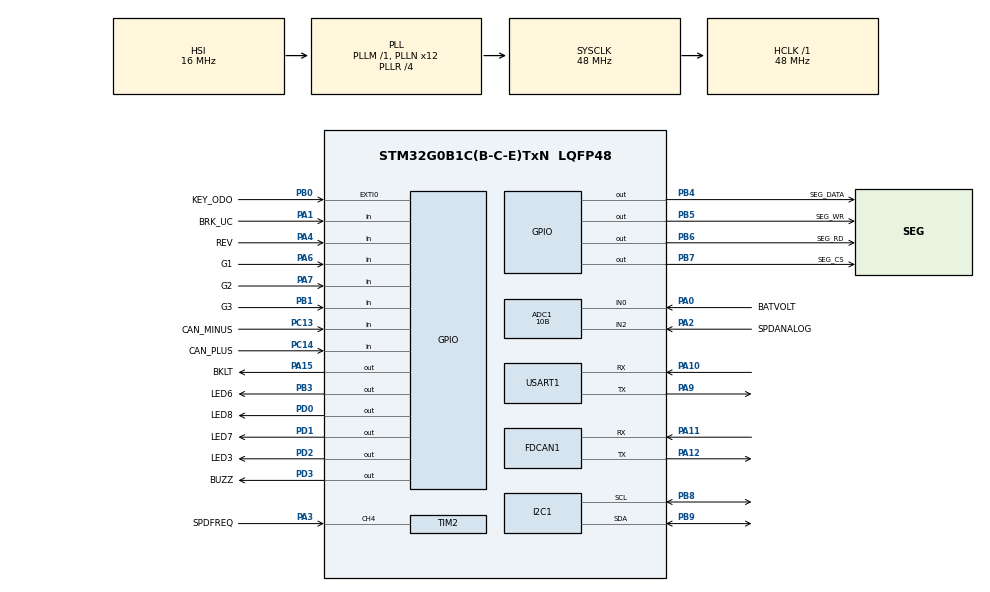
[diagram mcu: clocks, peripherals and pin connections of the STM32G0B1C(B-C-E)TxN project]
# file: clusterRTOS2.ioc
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ADC1.Channel-0\#ChannelRegularConversion=ADC_CHANNEL_0
ADC1.Channel-1\#ChannelRegularConversion=ADC_CHANNEL_2
ADC1.ClockPrescaler=ADC_CLOCK_ASYNC_DIV32
ADC1.ContinuousConvMode=ENABLE
ADC1.DMAContinuousRequests=ENABLE
ADC1.NbrOfConversion=2
ADC1.NbrOfConversionFlag=1
ADC1.Rank-0\#ChannelRegularConversion=1
ADC1.Rank-1\#ChannelRegularConversion=2
ADC1.Resolution=ADC_RESOLUTION_10B
ADC1.SamplingTime-0\#ChannelRegularConversion=ADC_SAMPLINGTIME_COMMON_1
ADC1.SamplingTime-1\#ChannelRegularConversion=ADC_SAMPLINGTIME_COMMON_1
ADC1.ScanConvMode=ADC_SCAN_DISABLE
ADC1.SelectedChannel=ADC_CHANNEL_0|ADC_CHANNEL_2
ADC1.master=1
Dma.ADC1.0.Direction=DMA_PERIPH_TO_MEMORY
Dma.ADC1.0.EventEnable=DISABLE
Dma.ADC1.0.Instance=DMA1_Channel1
Dma.ADC1.0.MemDataAlignment=DMA_MDATAALIGN_HALFWORD
Dma.ADC1.0.MemInc=DMA_MINC_ENABLE
Dma.ADC1.0.Mode=DMA_CIRCULAR
Dma.ADC1.0.PeriphDataAlignment=DMA_PDATAALIGN_HALFWORD
Dma.ADC1.0.PeriphInc=DMA_PINC_DISABLE
Dma.ADC1.0.Polarity=HAL_DMAMUX_REQ_GEN_RISING
Dma.ADC1.0.Priority=DMA_PRIORITY_LOW
Dma.ADC1.0.RequestNumber=1
Dma.ADC1.0.SignalID=NONE
Dma.ADC1.0.SyncEnable=DISABLE
Dma.ADC1.0.SyncPolarity=HAL_DMAMUX_SYNC_NO_EVENT
Dma.ADC1.0.SyncRequestNumber=1
Dma.ADC1.0.SyncSignalID=NONE
Dma.Request0=ADC1
FDCAN1.AutoRetransmission=ENABLE
FDCAN1.ClockDivider=FDCAN_CLOCK_DIV1
FDCAN1.DataSyncJumpWidth=4
FDCAN1.DataTimeSeg1=5
FDCAN1.DataTimeSeg2=4
FDCAN1.ExtFiltersNbr=1
FDCAN1.FrameFormat=FDCAN_FRAME_FD_NO_BRS
FDCAN1.NominalSyncJumpWidth=16
FDCAN1.NominalTimeSeg1=63
FDCAN1.NominalTimeSeg2=32
FDCAN1.StdFiltersNbr=1
FDCAN1.TransmitPause=ENABLE
FREERTOS.BinarySemaphores01=xSemCanDetect,Dynamic,NULL
FREERTOS.Mutexes01=mutEepromWrite,Dynamic,NULL;mutEepromRead,Dynamic,NULL
FREERTOS.Tasks01=defaultTask,24,128,StartDefaultTask,Default,NULL,Dynamic,NULL,NULL;myGpioTask,16,128,StartGpioTask,Default,NULL,Dynamic,NULL,NULL
FREERTOS.configTOTAL_HEAP_SIZE=6144
I2C1.Timing=0x20303E5D
Mcu.Family=STM32G0
Mcu.Name=STM32G0B1C(B-C-E)TxN
Mcu.Package=LQFP48
NVIC.DMA1_Channel1_IRQn=true\:3\:0\:false\:false\:true\:true\:false\:true
NVIC.EXTI0_1_IRQn=true\:3\:0\:false\:false\:true\:true\:true\:true
NVIC.TIM16_FDCAN_IT0_IRQn=true\:3\:0\:false\:false\:true\:true\:true\:true
NVIC.TIM1_BRK_UP_TRG_COM_IRQn=true\:3\:0\:false\:false\:true\:false\:true\:true
NVIC.TIM2_IRQn=true\:3\:0\:false\:false\:true\:true\:true\:true
NVIC.TimeBase=TIM1_BRK_UP_TRG_COM_IRQn
NVIC.TimeBaseIP=TIM1
NVIC.USART1_IRQn=true\:3\:0\:false\:false\:true\:true\:true\:true
PA0.GPIO_Label=BATVOLT
PA0.Mode=IN0
PA0.Signal=ADC1_IN0
PA1.GPIO_Label=BRK_UC
PA1.GPIO_PuPd=GPIO_PULLUP
PA1.Signal=GPIO_Input
PA10.Mode=Asynchronous
PA10.Signal=USART1_RX
PA11\ [PA9].Mode=FDCAN_Activate
PA11\ [PA9].Signal=FDCAN1_RX
PA12\ [PA10].Mode=FDCAN_Activate
PA12\ [PA10].Signal=FDCAN1_TX
PA15.GPIO_Label=BKLT
PA15.GPIO_PuPd=GPIO_PULLDOWN
PA15.PinState=GPIO_PIN_SET
PA15.Signal=GPIO_Output
PA2.GPIO_Label=SPDANALOG
PA2.Mode=IN2
PA2.Signal=ADC1_IN2
PA3.GPIO_Label=SPDFREQ
PA3.GPIO_ModeDefaultPP=GPIO_MODE_AF_OD
PA3.GPIO_PuPd=GPIO_NOPULL
PA3.GPIO_Speed=GPIO_SPEED_FREQ_HIGH
PA3.PinState=GPIO_PIN_SET
PA3.Signal=S_TIM2_CH4
PA4.GPIO_Label=REV
PA4.GPIO_PuPd=GPIO_PULLDOWN
PA4.Signal=GPIO_Input
PA6.GPIO_Label=G1
PA6.GPIO_PuPd=GPIO_PULLUP
PA6.Signal=GPIO_Input
PA7.GPIO_Label=G2
PA7.GPIO_PuPd=GPIO_PULLUP
PA7.Signal=GPIO_Input
PA9.Mode=Asynchronous
PA9.Signal=USART1_TX
PB0.GPIO_Label=KEY_ODO
PB0.GPIO_ModeDefaultEXTI=GPIO_MODE_IT_FALLING
PB0.GPIO_PuPd=GPIO_PULLUP
PB0.Signal=GPXTI0
PB1.GPIO_Label=G3
PB1.GPIO_PuPd=GPIO_PULLUP
PB1.Signal=GPIO_Input
PB3.GPIO_Label=LED6
PB3.GPIO_PuPd=GPIO_PULLDOWN
PB3.PinState=GPIO_PIN_SET
PB3.Signal=GPIO_Output
PB4.GPIO_Label=SEG_DATA
PB4.PinState=GPIO_PIN_SET
PB4.Signal=GPIO_Output
PB5.GPIO_Label=SEG_WR
PB5.PinState=GPIO_PIN_SET
PB5.Signal=GPIO_Output
PB6.GPIO_Label=SEG_RD
PB6.PinState=GPIO_PIN_SET
PB6.Signal=GPIO_Output
PB7.GPIO_Label=SEG_CS
PB7.PinState=GPIO_PIN_SET
PB7.Signal=GPIO_Output
PB8.GPIO_Pu=GPIO_PULLUP
PB8.Mode=I2C
PB8.Signal=I2C1_SCL
PB9.GPIO_Pu=GPIO_PULLUP
PB9.Mode=I2C
PB9.Signal=I2C1_SDA
PC13.GPIO_Label=CAN_MINUS
PC13.GPIO_PuPd=GPIO_PULLUP
PC13.Signal=GPIO_Input
PC14-OSC32_IN\ (PC14).GPIO_Label=CAN_PLUS
PC14-OSC32_IN\ (PC14).GPIO_PuPd=GPIO_PULLUP
PC14-OSC32_IN\ (PC14).Signal=GPIO_Input
PD0.GPIO_Label=LED8
PD0.GPIO_PuPd=GPIO_PULLDOWN
PD0.PinState=GPIO_PIN_SET
PD0.Signal=GPIO_Output
PD1.GPIO_Label=LED7
PD1.GPIO_PuPd=GPIO_PULLDOWN
PD1.PinState=GPIO_PIN_SET
PD1.Signal=GPIO_Output
PD2.GPIO_Label=LED3
PD2.GPIO_PuPd=GPIO_PULLDOWN
PD2.PinState=GPIO_PIN_SET
PD2.Signal=GPIO_Output
PD3.GPIO_Label=BUZZ
PD3.GPIO_PuPd=GPIO_PULLDOWN
PD3.PinState=GPIO_PIN_SET
PD3.Signal=GPIO_Output
ProjectManager.HeapSize=0x200
ProjectManager.StackSize=0x400
ProjectManager.TargetToolchain=STM32CubeIDE
RCC.ADCFreq_Value=48000000
RCC.AHBFreq_Value=48000000
RCC.CortexFreq_Value=48000000
RCC.EXTERNAL_CLOCK_VALUE=48000
RCC.HCLKFreq_Value=48000000
RCC.HSE_VALUE=8000000
RCC.HSI48_VALUE=48000000
RCC.HSI_VALUE=16000000
RCC.LSE_VALUE=32768
RCC.PLLN=12
RCC.PLLR=RCC_PLLR_DIV4
RCC.SYSCLKFreq_VALUE=48000000
RCC.SYSCLKSource=RCC_SYSCLKSOURCE_PLLCLK
RCC.USBFreq_Value=48000000
RCC.VCOOutputFreq_Value=192000000
SH.S_TIM2_CH4.0=TIM2_CH4,Input_Capture4_from_TI4
TIM2.Channel-Input_Capture4_from_TI4=TIM_CHANNEL_4
TIM2.ClockDivision=TIM_CLOCKDIVISION_DIV4
TIM2.ICFilter_CH4=3
TIM2.ICPolarity_CH4=TIM_INPUTCHANNELPOLARITY_BOTHEDGE
TIM2.Period=5000000
TIM2.Prescaler=400
USART1.VirtualMode-Asynchronous=VM_ASYNC
VP_FREERTOS_VS_CMSIS_V2.Mode=CMSIS_V2
VP_SYS_VS_DBSignals.Mode=DisableDeadBatterySignals
VP_SYS_VS_tim1.Mode=TIM1
VP_TIM2_VS_ClockSourceINT.Mode=Internal
board=custom

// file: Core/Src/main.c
/* USER CODE BEGIN Header */
/**
  ******************************************************************************
  * @file           : main.c
  * @brief          : Main program body
  ******************************************************************************
  * @attention
  *
  * Copyright (c) 2023 STMicroelectronics.
  * All rights reserved.
  *
  * This software is licensed under terms that can be found in the LICENSE file
  * in the root directory of this software component.
  * If no LICENSE file comes with this software, it is provided AS-IS.
  *
  ******************************************************************************
  */
/* USER CODE END Header */
#include "main.h"
#include "cmsis_os.h"

/* USER CODE BEGIN Includes */
#include "queue.h"
#include "event_groups.h"
#include "Display.h"
#include "singleWire.h"
#include "timers.h"
#include "can.h"
//#include "semphr. h"
/* USER CODE END Includes */

/* USER CODE BEGIN PTD */
#define fun(reg, bitn) reg&(1<<bitn)
/* USER CODE END PTD */

ADC_HandleTypeDef hadc1;
DMA_HandleTypeDef hdma_adc1;

FDCAN_HandleTypeDef hfdcan1;

I2C_HandleTypeDef hi2c1;

TIM_HandleTypeDef htim2;

UART_HandleTypeDef huart1;

/* Definitions for defaultTask */
osThreadId_t defaultTaskHandle;
const osThreadAttr_t defaultTask_attributes = {
  .name = "defaultTask",
  .priority = (osPriority_t) osPriorityNormal,
  .stack_size = 128 * 4
};
/* Definitions for myGpioTask */
osThreadId_t myGpioTaskHandle;
const osThreadAttr_t myGpioTask_attributes = {
  .name = "myGpioTask",
  .priority = (osPriority_t) osPriorityBelowNormal,
  .stack_size = 128 * 4
};
/* Definitions for mutEepromWrite */
osMutexId_t mutEepromWriteHandle;
const osMutexAttr_t mutEepromWrite_attributes = {
  .name = "mutEepromWrite"
};
/* Definitions for mutEepromRead */
osMutexId_t mutEepromReadHandle;
const osMutexAttr_t mutEepromRead_attributes = {
  .name = "mutEepromRead"
};
/* Definitions for xSemCanDetect */
osSemaphoreId_t xSemCanDetectHandle;
const osSemaphoreAttr_t xSemCanDetect_attributes = {
  .name = "xSemCanDetect"
};
/* USER CODE BEGIN PV */
osThreadId_t singleWireTaskHandle;
const osThreadAttr_t singleWireTask_attributes = {
  .name = "singleWireTask",
  .priority = (osPriority_t) osPriorityRealtime,
  .stack_size = 128 * 4
};

osThreadId_t displayTaskHandle;
const osThreadAttr_t displayTask_attributes = {
  .name = "displayTask",
  .priority = (osPriority_t) osPriorityRealtime,
  .stack_size = 128 * 4
};

osThreadId_t adcTaskHandle;
const osThreadAttr_t adcTask_attributes = {
  .name = "adcTask",
  .priority = (osPriority_t) osPriorityAboveNormal,
  .stack_size = 128 * 4
};

osThreadId_t canTaskHandle;
const osThreadAttr_t canTask_attributes = {
  .name = "canTask",
  .priority = (osPriority_t) osPriorityRealtime,
  .stack_size = 128 * 4
};

// Define the message queue handle
QueueHandle_t xQueueSingleWire, xQueueAdc;

//  declare a event grounp handler variable
EventGroupHandle_t  xEventGroupDisplay;

xTimerHandle timerOdoTrip;

typedef struct {
    uint32_t adcVal[ADC_MAX_CHANNEL];
    // Add more fields if needed
} adcData_t;

uint8_t tBaud = 0, dataVar[16], uartBuf[10], dBaud = 3, gv1, gav1, gav2, gav3, gav4, gv2, gv3, gv4;
volatile uint32_t odoVar = 0, tripVar = 0, volt = 0, soc = 0;
volatile int32_t amp;
volatile int16_t amp2;
volatile uint32_t tcnt = 0, tLimit = 0, divDis = 0, ahVar;
volatile uint16_t flt1, flt2, flt3, batteryFault16, soh, rAh, cAh, speedVar2=0, speedVar=0;
volatile uint16_t ntc1, ntc2, ntc3, ntc4, ntc5, ntc6, tempLimit=550, motorRpm, ctempAlert, mtempAlert;
unsigned long  odoVc, odoVarR, tripVarR, odoVarC, tripVarC, prvOdo;
extern uint16_t speedVarF;
_Bool runTime = 0, tog = 1, mTemp;
volatile uint8_t start, dataCountX, dataCountY, varCh, stopTimeOut, thrmlRun, ntcCount;
volatile unsigned int lineCount, CANindex, CANtype;
volatile uint8_t direction, spd, spdLH, emp1, emp2, mcx1, brkMod, gear;
volatile uint8_t canBatFlag, canControllerFlag, controllerFault, batteryFault, motorFault, motorTemp, throtelFault, throttlePos;
volatile uint8_t chargeState, errorState, reGen, reverseMod, parkingMod, thrmlRun, sStand, brake, cruiseMod, Warning;
_Bool bitOdo, tmpH1,tmpH2, tmpH3, tmpH4, tmpH5, tmpH6, freqMode=0;
unsigned char CANbuf[7][7];
extern uint8_t tBuf[200];
extern uint16_t eeCounter;
unsigned int divFact, rMul, rMul1, rMul2, rMul3, divFactFrq, lval=900, vs=9;
unsigned char vers = VERS;
uint8_t keyNo = 0;
/* USER CODE END PV */

void SystemClock_Config(void);
static void MX_GPIO_Init(void);
static void MX_ADC1_Init(void);
static void MX_FDCAN1_Init(void);
static void MX_I2C1_Init(void);
static void MX_TIM2_Init(void);
static void MX_DMA_Init(void);
static void MX_USART1_UART_Init(void);
void StartDefaultTask(void *argument);
void StartGpioTask(void *argument);

/* USER CODE BEGIN PFP */
void StartAdcTask(void *argument);

FDCAN_RxHeaderTypeDef RxHeader;
uint8_t RxData[8];
FDCAN_TxHeaderTypeDef TxHeader;
uint8_t TxData[8];
/* USER CODE END PFP */

/* USER CODE BEGIN 0 */
const uint8_t appByte __attribute__(( section(".appByte") )) = 0x55;

uint16_t adcBuf[ADC_DMA_LENGTH+1];

/*
 * Timer event every 100mS
 */
static void vTimerCallback1SecExpired(xTimerHandle pxTimer)
{
  singleWireData_t dataToSend;
  static uint16_t keyCnt;
  //HAL_GPIO_TogglePin(GPIOB, LED6_Pin);
  if(runTime)
  {
	  if(tcnt<tLimit)
	  {
		  tcnt++;
	  }
	  else
	  {
		  tcnt=0;
		  runTime=0;
	  }
  }
  if(stopTimeOut)
  {
	  if((--stopTimeOut == 0)&&(start == 2))
	  {
			start = 0;
			varCh = 0;
			for(int p = 0; p < dataCountX; p++)
			{
				varCh^=dataVar[p];
			}
			if((varCh==0)&&(dataVar[0]!=0)&&(dataVar[4]!=0xff))
			{
				dataToSend.dataArrPtr = dataVar;
				dataToSend.cnt	=	12;
				// Send the data to the message queue
				if (xQueueSendFromISR(xQueueSingleWire, &dataToSend, NULL) == pdTRUE) {
					// Data sent successfully
				} else {
					// Queue is full, data not sent
				}
			}
	  }
  }
	if(!HAL_GPIO_ReadPin(KEY_ODO_GPIO_Port, KEY_ODO_Pin))
	{
		keyCnt++;
		if(keyCnt==20)																			//time out
		{
			keyNo = LONG;
			vTaskNotifyGiveFromISR(myGpioTaskHandle, 0);
		}
	}
	else
	{
		if((keyCnt>2)&&(keyCnt<=19))											//Short Press
		{
			keyNo=SHORT;
			vTaskNotifyGiveFromISR(myGpioTaskHandle, 0);
		}
		else if(keyCnt>19)																//long press
		{
			keyNo=LONG;
			vTaskNotifyGiveFromISR(myGpioTaskHandle, 0);
		}
		keyCnt=0;
	}
}

void modeSet(uint8_t md)
{
	  TIM_ClockConfigTypeDef sClockSourceConfig = {0};
	  TIM_MasterConfigTypeDef sMasterConfig = {0};
	  TIM_IC_InitTypeDef sConfigIC = {0};
	if(md == FREQMODEL)
	{
		  htim2.Instance = TIM2;
		  htim2.Init.Prescaler = 1000;//0;
		  htim2.Init.CounterMode = TIM_COUNTERMODE_UP;
		  htim2.Init.Period = 5000000;
		  htim2.Init.ClockDivision = TIM_CLOCKDIVISION_DIV4;//TIM_CLOCKDIVISION_DIV1;
		  htim2.Init.AutoReloadPreload = TIM_AUTORELOAD_PRELOAD_DISABLE;
		  if (HAL_TIM_Base_Init(&htim2) != HAL_OK)
		  {
		    Error_Handler();
		  }
		  sClockSourceConfig.ClockSource = TIM_CLOCKSOURCE_INTERNAL;
		  if (HAL_TIM_ConfigClockSource(&htim2, &sClockSourceConfig) != HAL_OK)
		  {
		    Error_Handler();
		  }
		  if (HAL_TIM_IC_Init(&htim2) != HAL_OK)
		  {
		    Error_Handler();
		  }
		  sMasterConfig.MasterOutputTrigger = TIM_TRGO_RESET;
		  sMasterConfig.MasterSlaveMode = TIM_MASTERSLAVEMODE_DISABLE;
		  if (HAL_TIMEx_MasterConfigSynchronization(&htim2, &sMasterConfig) != HAL_OK)
		  {
		    Error_Handler();
		  }
		  sConfigIC.ICPolarity = TIM_INPUTCHANNELPOLARITY_BOTHEDGE;
		  sConfigIC.ICSelection = TIM_ICSELECTION_DIRECTTI;
		  sConfigIC.ICPrescaler = TIM_ICPSC_DIV1;
		  sConfigIC.ICFilter = 3;
		  if (HAL_TIM_IC_ConfigChannel(&htim2, &sConfigIC, TIM_CHANNEL_4) != HAL_OK)
		  {
		    Error_Handler();
		  }
		  HAL_TIM_IC_Start_IT (&htim2, TIM_CHANNEL_4);
		  freqMode=1;
	}
	else //if(md == FREQMODEL)
	{
		  htim2.Instance = TIM2;
		  htim2.Init.Prescaler = 400;
		  htim2.Init.CounterMode = TIM_COUNTERMODE_UP;
		  htim2.Init.Period = 5000000;
		  htim2.Init.ClockDivision = TIM_CLOCKDIVISION_DIV4;
		  htim2.Init.AutoReloadPreload = TIM_AUTORELOAD_PRELOAD_DISABLE;
		  if (HAL_TIM_Base_Init(&htim2) != HAL_OK)
		  {
		    Error_Handler();
		  }
		  sClockSourceConfig.ClockSource = TIM_CLOCKSOURCE_INTERNAL;
		  if (HAL_TIM_ConfigClockSource(&htim2, &sClockSourceConfig) != HAL_OK)
		  {
		    Error_Handler();
		  }
		  if (HAL_TIM_IC_Init(&htim2) != HAL_OK)
		  {
		    Error_Handler();
		  }
		  sMasterConfig.MasterOutputTrigger = TIM_TRGO_RESET;
		  sMasterConfig.MasterSlaveMode = TIM_MASTERSLAVEMODE_DISABLE;
		  if (HAL_TIMEx_MasterConfigSynchronization(&htim2, &sMasterConfig) != HAL_OK)
		  {
		    Error_Handler();
		  }
		  sConfigIC.ICPolarity = TIM_INPUTCHANNELPOLARITY_BOTHEDGE;
		  sConfigIC.ICSelection = TIM_ICSELECTION_DIRECTTI;
		  sConfigIC.ICPrescaler = TIM_ICPSC_DIV1;
		  sConfigIC.ICFilter = 3;
		  if (HAL_TIM_IC_ConfigChannel(&htim2, &sConfigIC, TIM_CHANNEL_4) != HAL_OK)
		  {
		    Error_Handler();
		  }
		  HAL_TIM_IC_Start_IT (&htim2, TIM_CHANNEL_4);
	  freqMode=0;
	}
}

// Function to swap the byte order of a 32-bit integer
uint32_t swapBytes(uint32_t value) {
    return ((value & 0x000000FF) << 24) |
           ((value & 0x0000FF00) << 8) |
           ((value & 0x00FF0000) >> 8) |
           ((value & 0xFF000000) >> 24);
}

/* USER CODE END 0 */

int main(void)
{
  /* USER CODE BEGIN 1 */
	int row, col;
  /* USER CODE END 1 */

  /* MCU Configuration--------------------------------------------------------*/

  /* Reset of all peripherals, Initializes the Flash interface and the Systick. */
  HAL_Init();

  /* USER CODE BEGIN Init */
  divDis = 176;
  runTime = 1;
  /* USER CODE END Init */

  /* Configure the system clock */
  SystemClock_Config();

  /* Initialize all configured peripherals */
  MX_GPIO_Init();
  MX_ADC1_Init();
  MX_FDCAN1_Init();
  MX_I2C1_Init();
  MX_TIM2_Init();
  MX_DMA_Init();
  MX_USART1_UART_Init();
  /* USER CODE BEGIN 2 */
  HAL_FDCAN_DeInit(&hfdcan1);
  HAL_DMA_Init(&hdma_adc1);												//
  HAL_ADC_Start_DMA(&hadc1, (uint32_t*)adcBuf, ADC_DMA_LENGTH);
  //UART_Start_Receive_IT(&huart1, uartBuf, 1);
  /* USER CODE END 2 */

  /* Init scheduler */
  osKernelInitialize();
  /* Create the mutex(es) */
  /* creation of mutEepromWrite */
  mutEepromWriteHandle = osMutexNew(&mutEepromWrite_attributes);

  /* creation of mutEepromRead */
  mutEepromReadHandle = osMutexNew(&mutEepromRead_attributes);

  /* Create the semaphores(s) */
  /* creation of xSemCanDetect */
  xSemCanDetectHandle = osSemaphoreNew(1, 1, &xSemCanDetect_attributes);

  /* USER CODE BEGIN RTOS_TIMERS */
  /* start timers, add new ones, ... */
  timerOdoTrip = xTimerCreate(
        "timer1", /* name */
        pdMS_TO_TICKS(100), /* period/time */
        pdTRUE, /* auto reload */
        (void*)0, /* timer ID */
        vTimerCallback1SecExpired); /* callback */
  xTimerStart(timerOdoTrip, 0);
  /* USER CODE END RTOS_TIMERS */

  /* USER CODE BEGIN RTOS_QUEUES */
  /* add queues, ... */
  xQueueSingleWire = xQueueCreate(20, sizeof(singleWireData_t));
  xQueueAdc = xQueueCreate(ADC_MAX_CHANNEL, sizeof(adcData_t));
  /* USER CODE END RTOS_QUEUES */

  /* Create the thread(s) */
  /* creation of defaultTask */
  defaultTaskHandle = osThreadNew(StartDefaultTask, NULL, &defaultTask_attributes);

  /* creation of myGpioTask */
  myGpioTaskHandle = osThreadNew(StartGpioTask, NULL, &myGpioTask_attributes);

  /* USER CODE BEGIN RTOS_THREADS */
  singleWireTaskHandle = osThreadNew(StartSingleWireTask, NULL, &singleWireTask_attributes);
  adcTaskHandle = osThreadNew(StartAdcTask, NULL, &adcTask_attributes);
  displayTaskHandle = osThreadNew(StartDisplayTask, NULL, &displayTask_attributes);
  /* add threads, ... */
  /* USER CODE END RTOS_THREADS */

  /* USER CODE BEGIN RTOS_EVENTS */
  /* add events, ... */
  xEventGroupDisplay  =  xEventGroupCreate();
  /* USER CODE END RTOS_EVENTS */

  /* Start scheduler */
  osKernelStart();

  /* We should never get here as control is now taken by the scheduler */
  /* Infinite loop */
  while (1)
  {

  }
}

void SystemClock_Config(void)
{
  RCC_OscInitTypeDef RCC_OscInitStruct = {0};
  RCC_ClkInitTypeDef RCC_ClkInitStruct = {0};

  /** Configure the main internal regulator output voltage
  */
  HAL_PWREx_ControlVoltageScaling(PWR_REGULATOR_VOLTAGE_SCALE1);
  /** Initializes the RCC Oscillators according to the specified parameters
  * in the RCC_OscInitTypeDef structure.
  */
  RCC_OscInitStruct.OscillatorType = RCC_OSCILLATORTYPE_HSI;
  RCC_OscInitStruct.HSIState = RCC_HSI_ON;
  RCC_OscInitStruct.HSIDiv = RCC_HSI_DIV1;
  RCC_OscInitStruct.HSICalibrationValue = RCC_HSICALIBRATION_DEFAULT;
  RCC_OscInitStruct.PLL.PLLState = RCC_PLL_ON;
  RCC_OscInitStruct.PLL.PLLSource = RCC_PLLSOURCE_HSI;
  RCC_OscInitStruct.PLL.PLLM = RCC_PLLM_DIV1;
  RCC_OscInitStruct.PLL.PLLN = 12;
  RCC_OscInitStruct.PLL.PLLP = RCC_PLLP_DIV2;
  RCC_OscInitStruct.PLL.PLLQ = RCC_PLLQ_DIV2;
  RCC_OscInitStruct.PLL.PLLR = RCC_PLLR_DIV4;
  if (HAL_RCC_OscConfig(&RCC_OscInitStruct) != HAL_OK)
  {
    Error_Handler();
  }
  /** Initializes the CPU, AHB and APB buses clocks
  */
  RCC_ClkInitStruct.ClockType = RCC_CLOCKTYPE_HCLK|RCC_CLOCKTYPE_SYSCLK
                              |RCC_CLOCKTYPE_PCLK1;
  RCC_ClkInitStruct.SYSCLKSource = RCC_SYSCLKSOURCE_PLLCLK;
  RCC_ClkInitStruct.AHBCLKDivider = RCC_SYSCLK_DIV1;
  RCC_ClkInitStruct.APB1CLKDivider = RCC_HCLK_DIV1;

  if (HAL_RCC_ClockConfig(&RCC_ClkInitStruct, FLASH_LATENCY_1) != HAL_OK)
  {
    Error_Handler();
  }
}

static void MX_ADC1_Init(void)
{

  ADC_ChannelConfTypeDef sConfig = {0};

  /** Configure the global features of the ADC (Clock, Resolution, Data Alignment and number of conversion)
  */
  hadc1.Instance = ADC1;
  hadc1.Init.ClockPrescaler = ADC_CLOCK_ASYNC_DIV32;
  hadc1.Init.Resolution = ADC_RESOLUTION_10B;
  hadc1.Init.DataAlign = ADC_DATAALIGN_RIGHT;
  hadc1.Init.ScanConvMode = ADC_SCAN_DISABLE;
  hadc1.Init.EOCSelection = ADC_EOC_SINGLE_CONV;
  hadc1.Init.LowPowerAutoWait = DISABLE;
  hadc1.Init.LowPowerAutoPowerOff = DISABLE;
  hadc1.Init.ContinuousConvMode = ENABLE;
  hadc1.Init.NbrOfConversion = 2;
  hadc1.Init.DiscontinuousConvMode = DISABLE;
  hadc1.Init.ExternalTrigConv = ADC_SOFTWARE_START;
  hadc1.Init.ExternalTrigConvEdge = ADC_EXTERNALTRIGCONVEDGE_NONE;
  hadc1.Init.DMAContinuousRequests = ENABLE;
  hadc1.Init.Overrun = ADC_OVR_DATA_PRESERVED;
  hadc1.Init.SamplingTimeCommon1 = ADC_SAMPLETIME_1CYCLE_5;
  hadc1.Init.SamplingTimeCommon2 = ADC_SAMPLETIME_1CYCLE_5;
  hadc1.Init.OversamplingMode = DISABLE;
  hadc1.Init.TriggerFrequencyMode = ADC_TRIGGER_FREQ_HIGH;
  if (HAL_ADC_Init(&hadc1) != HAL_OK)
  {
    Error_Handler();
  }
  /** Configure Regular Channel
  */
  sConfig.Channel = ADC_CHANNEL_0;
  sConfig.Rank = ADC_REGULAR_RANK_1;
  sConfig.SamplingTime = ADC_SAMPLINGTIME_COMMON_1;
  if (HAL_ADC_ConfigChannel(&hadc1, &sConfig) != HAL_OK)
  {
    Error_Handler();
  }
  /** Configure Regular Channel
  */
  sConfig.Channel = ADC_CHANNEL_2;
  sConfig.Rank = ADC_REGULAR_RANK_2;
  if (HAL_ADC_ConfigChannel(&hadc1, &sConfig) != HAL_OK)
  {
    Error_Handler();
  }

}

static void MX_FDCAN1_Init(void)
{

  hfdcan1.Instance = FDCAN1;
  hfdcan1.Init.ClockDivider = FDCAN_CLOCK_DIV1;
  hfdcan1.Init.FrameFormat = FDCAN_FRAME_FD_NO_BRS;
  hfdcan1.Init.Mode = FDCAN_MODE_NORMAL;
  hfdcan1.Init.AutoRetransmission = ENABLE;
  hfdcan1.Init.TransmitPause = ENABLE;
  hfdcan1.Init.ProtocolException = DISABLE;
  hfdcan1.Init.NominalPrescaler = 1;
  hfdcan1.Init.NominalSyncJumpWidth = 16;
  hfdcan1.Init.NominalTimeSeg1 = 63;
  hfdcan1.Init.NominalTimeSeg2 = 32;
  hfdcan1.Init.DataPrescaler = 1;
  hfdcan1.Init.DataSyncJumpWidth = 4;
  hfdcan1.Init.DataTimeSeg1 = 5;
  hfdcan1.Init.DataTimeSeg2 = 4;
  hfdcan1.Init.StdFiltersNbr = 1;
  hfdcan1.Init.ExtFiltersNbr = 1;
  hfdcan1.Init.TxFifoQueueMode = FDCAN_TX_FIFO_OPERATION;
  if (HAL_FDCAN_Init(&hfdcan1) != HAL_OK)
  {
    Error_Handler();
  }

}

static void MX_I2C1_Init(void)
{

  hi2c1.Instance = I2C1;
  hi2c1.Init.Timing = 0x20303E5D;
  hi2c1.Init.OwnAddress1 = 0;
  hi2c1.Init.AddressingMode = I2C_ADDRESSINGMODE_7BIT;
  hi2c1.Init.DualAddressMode = I2C_DUALADDRESS_DISABLE;
  hi2c1.Init.OwnAddress2 = 0;
  hi2c1.Init.OwnAddress2Masks = I2C_OA2_NOMASK;
  hi2c1.Init.GeneralCallMode = I2C_GENERALCALL_DISABLE;
  hi2c1.Init.NoStretchMode = I2C_NOSTRETCH_DISABLE;
  if (HAL_I2C_Init(&hi2c1) != HAL_OK)
  {
    Error_Handler();
  }
  /** Configure Analogue filter
  */
  if (HAL_I2CEx_ConfigAnalogFilter(&hi2c1, I2C_ANALOGFILTER_ENABLE) != HAL_OK)
  {
    Error_Handler();
  }
  /** Configure Digital filter
  */
  if (HAL_I2CEx_ConfigDigitalFilter(&hi2c1, 0) != HAL_OK)
  {
    Error_Handler();
  }

}

static void MX_TIM2_Init(void)
{

  TIM_ClockConfigTypeDef sClockSourceConfig = {0};
  TIM_MasterConfigTypeDef sMasterConfig = {0};
  TIM_IC_InitTypeDef sConfigIC = {0};

  htim2.Instance = TIM2;
  htim2.Init.Prescaler = 400;
  htim2.Init.CounterMode = TIM_COUNTERMODE_UP;
  htim2.Init.Period = 5000000;
  htim2.Init.ClockDivision = TIM_CLOCKDIVISION_DIV4;
  htim2.Init.AutoReloadPreload = TIM_AUTORELOAD_PRELOAD_DISABLE;
  if (HAL_TIM_Base_Init(&htim2) != HAL_OK)
  {
    Error_Handler();
  }
  sClockSourceConfig.ClockSource = TIM_CLOCKSOURCE_INTERNAL;
  if (HAL_TIM_ConfigClockSource(&htim2, &sClockSourceConfig) != HAL_OK)
  {
    Error_Handler();
  }
  if (HAL_TIM_IC_Init(&htim2) != HAL_OK)
  {
    Error_Handler();
  }
  sMasterConfig.MasterOutputTrigger = TIM_TRGO_RESET;
  sMasterConfig.MasterSlaveMode = TIM_MASTERSLAVEMODE_DISABLE;
  if (HAL_TIMEx_MasterConfigSynchronization(&htim2, &sMasterConfig) != HAL_OK)
  {
    Error_Handler();
  }
  sConfigIC.ICPolarity = TIM_INPUTCHANNELPOLARITY_BOTHEDGE;
  sConfigIC.ICSelection = TIM_ICSELECTION_DIRECTTI;
  sConfigIC.ICPrescaler = TIM_ICPSC_DIV1;
  sConfigIC.ICFilter = 3;
  if (HAL_TIM_IC_ConfigChannel(&htim2, &sConfigIC, TIM_CHANNEL_4) != HAL_OK)
  {
    Error_Handler();
  }
  /* USER CODE BEGIN TIM2_Init 2 */
  HAL_TIM_IC_Start_IT (&htim2, TIM_CHANNEL_4);

  /* USER CODE END TIM2_Init 2 */

}

static void MX_USART1_UART_Init(void)
{

  huart1.Instance = USART1;
  huart1.Init.BaudRate = 115200;
  huart1.Init.WordLength = UART_WORDLENGTH_8B;
  huart1.Init.StopBits = UART_STOPBITS_1;
  huart1.Init.Parity = UART_PARITY_NONE;
  huart1.Init.Mode = UART_MODE_TX_RX;
  huart1.Init.HwFlowCtl = UART_HWCONTROL_NONE;
  huart1.Init.OverSampling = UART_OVERSAMPLING_16;
  huart1.Init.OneBitSampling = UART_ONE_BIT_SAMPLE_DISABLE;
  huart1.Init.ClockPrescaler = UART_PRESCALER_DIV1;
  huart1.AdvancedInit.AdvFeatureInit = UART_ADVFEATURE_NO_INIT;
  if (HAL_UART_Init(&huart1) != HAL_OK)
  {
    Error_Handler();
  }
  if (HAL_UARTEx_SetTxFifoThreshold(&huart1, UART_TXFIFO_THRESHOLD_1_8) != HAL_OK)
  {
    Error_Handler();
  }
  if (HAL_UARTEx_SetRxFifoThreshold(&huart1, UART_RXFIFO_THRESHOLD_1_8) != HAL_OK)
  {
    Error_Handler();
  }
  if (HAL_UARTEx_DisableFifoMode(&huart1) != HAL_OK)
  {
    Error_Handler();
  }

}

static void MX_DMA_Init(void)
{

  /* DMA controller clock enable */
  __HAL_RCC_DMA1_CLK_ENABLE();

  /* DMA interrupt init */
  /* DMA1_Channel1_IRQn interrupt configuration */
  HAL_NVIC_SetPriority(DMA1_Channel1_IRQn, 3, 0);
  HAL_NVIC_EnableIRQ(DMA1_Channel1_IRQn);

}

static void MX_GPIO_Init(void)
{
  GPIO_InitTypeDef GPIO_InitStruct = {0};

  /* GPIO Ports Clock Enable */
  __HAL_RCC_GPIOC_CLK_ENABLE();
  __HAL_RCC_GPIOA_CLK_ENABLE();
  __HAL_RCC_GPIOB_CLK_ENABLE();
  __HAL_RCC_GPIOD_CLK_ENABLE();

  /*Configure GPIO pin Output Level */
  HAL_GPIO_WritePin(BKLT_GPIO_Port, BKLT_Pin, GPIO_PIN_SET);

  /*Configure GPIO pin Output Level */
  HAL_GPIO_WritePin(GPIOD, LED8_Pin|LED7_Pin|LED3_Pin|BUZZ_Pin, GPIO_PIN_SET);

  /*Configure GPIO pin Output Level */
  HAL_GPIO_WritePin(GPIOB, LED6_Pin|SEG_DATA_Pin|SEG_WR_Pin|SEG_RD_Pin
                          |SEG_CS_Pin, GPIO_PIN_SET);

  /*Configure GPIO pins : CAN_MINUS_Pin CAN_PLUS_Pin */
  GPIO_InitStruct.Pin = CAN_MINUS_Pin|CAN_PLUS_Pin;
  GPIO_InitStruct.Mode = GPIO_MODE_INPUT;
  GPIO_InitStruct.Pull = GPIO_PULLUP;
  HAL_GPIO_Init(GPIOC, &GPIO_InitStruct);

  /*Configure GPIO pins : BRK_UC_Pin G1_Pin G2_Pin */
  GPIO_InitStruct.Pin = BRK_UC_Pin|G1_Pin|G2_Pin;
  GPIO_InitStruct.Mode = GPIO_MODE_INPUT;
  GPIO_InitStruct.Pull = GPIO_PULLUP;
  HAL_GPIO_Init(GPIOA, &GPIO_InitStruct);

  /*Configure GPIO pin : REV_Pin */
  GPIO_InitStruct.Pin = REV_Pin;
  GPIO_InitStruct.Mode = GPIO_MODE_INPUT;
  GPIO_InitStruct.Pull = GPIO_PULLDOWN;
  HAL_GPIO_Init(REV_GPIO_Port, &GPIO_InitStruct);

  /*Configure GPIO pin : KEY_ODO_Pin */
  GPIO_InitStruct.Pin = KEY_ODO_Pin;
  GPIO_InitStruct.Mode = GPIO_MODE_IT_FALLING;
  GPIO_InitStruct.Pull = GPIO_PULLUP;
  HAL_GPIO_Init(KEY_ODO_GPIO_Port, &GPIO_InitStruct);

  /*Configure GPIO pin : G3_Pin */
  GPIO_InitStruct.Pin = G3_Pin;
  GPIO_InitStruct.Mode = GPIO_MODE_INPUT;
  GPIO_InitStruct.Pull = GPIO_PULLUP;
  HAL_GPIO_Init(G3_GPIO_Port, &GPIO_InitStruct);

  /*Configure GPIO pin : BKLT_Pin */
  GPIO_InitStruct.Pin = BKLT_Pin;
  GPIO_InitStruct.Mode = GPIO_MODE_OUTPUT_PP;
  GPIO_InitStruct.Pull = GPIO_PULLDOWN;
  GPIO_InitStruct.Speed = GPIO_SPEED_FREQ_LOW;
  HAL_GPIO_Init(BKLT_GPIO_Port, &GPIO_InitStruct);

  /*Configure GPIO pins : LED8_Pin LED7_Pin LED3_Pin BUZZ_Pin */
  GPIO_InitStruct.Pin = LED8_Pin|LED7_Pin|LED3_Pin|BUZZ_Pin;
  GPIO_InitStruct.Mode = GPIO_MODE_OUTPUT_PP;
  GPIO_InitStruct.Pull = GPIO_PULLDOWN;
  GPIO_InitStruct.Speed = GPIO_SPEED_FREQ_LOW;
  HAL_GPIO_Init(GPIOD, &GPIO_InitStruct);

  /*Configure GPIO pin : LED6_Pin */
  GPIO_InitStruct.Pin = LED6_Pin;
  GPIO_InitStruct.Mode = GPIO_MODE_OUTPUT_PP;
  GPIO_InitStruct.Pull = GPIO_PULLDOWN;
  GPIO_InitStruct.Speed = GPIO_SPEED_FREQ_LOW;
  HAL_GPIO_Init(LED6_GPIO_Port, &GPIO_InitStruct);

  /*Configure GPIO pins : SEG_DATA_Pin SEG_WR_Pin SEG_RD_Pin SEG_CS_Pin */
  GPIO_InitStruct.Pin = SEG_DATA_Pin|SEG_WR_Pin|SEG_RD_Pin|SEG_CS_Pin;
  GPIO_InitStruct.Mode = GPIO_MODE_OUTPUT_PP;
  GPIO_InitStruct.Pull = GPIO_NOPULL;
  GPIO_InitStruct.Speed = GPIO_SPEED_FREQ_LOW;
  HAL_GPIO_Init(GPIOB, &GPIO_InitStruct);

  /* EXTI interrupt init*/
  HAL_NVIC_SetPriority(EXTI0_1_IRQn, 3, 0);
  HAL_NVIC_EnableIRQ(EXTI0_1_IRQn);

}

/* USER CODE BEGIN 4 */
void eepromWrite(uint16_t addr, uint8_t *dat, uint16_t siz)
{
	uint16_t devAddr = (uint16_t)0xA0;
	osMutexAcquire(mutEepromWriteHandle, osWaitForever);
	if(addr&0xff00)
	{
		devAddr |= 0x02;
	}
	HAL_I2C_Mem_Write(&hi2c1, devAddr, addr, I2C_MEMADD_SIZE_8BIT, dat, siz, 1000);
	osMutexRelease(mutEepromWriteHandle);
}

void eepromRead(uint16_t addr, uint8_t *dat, uint16_t siz)
{
	uint16_t devAddr = (uint16_t)0xA0, TimeOut;
	osMutexAcquire( mutEepromReadHandle, osWaitForever );
	if(addr&0xff00)
	{
		devAddr |= 0x02;
	}
	TimeOut = 0;
	while(HAL_I2C_Mem_Read(&hi2c1, devAddr,(uint16_t)addr, I2C_MEMADD_SIZE_8BIT, dat, siz, 1000)!= HAL_OK && TimeOut < 10)
	{
		TimeOut++;
	}
	osMutexRelease( mutEepromReadHandle );
}

void MEM_Write(unsigned int aa, unsigned long abc)
{
	tBuf[0]=(unsigned char)((abc&0xff000000)>>24);
	tBuf[1]=(unsigned char)((abc&0x00ff0000)>>16);
	tBuf[2]=(unsigned char)((abc&0x0000ff00)>>8);
	tBuf[3]=(unsigned char)(abc&0x000000ff);
	eepromWrite((uint16_t)aa, tBuf, (uint16_t)4);
	//HAL_I2C_Mem_Write(&hi2c1,(uint16_t)0xA0,(uint16_t)aa, I2C_MEMADD_SIZE_8BIT, tBuf,(uint16_t)4,1000);
	//at24_HAL_WriteBytes(&hi2c1, 0xA0, aa, (uint8_t *)&tBuf, 4);
	//write_eeprom(aa, tBuf, 4);
}

void HAL_UART_RxCpltCallback(UART_HandleTypeDef *huart)
{
	if( huart->Instance == USART1)
	{
		HAL_UART_Receive_IT(&huart1, &uartBuf, 1);
	}
}

void HAL_TIM_IC_CaptureCallback(TIM_HandleTypeDef *htim)
{
	uint32_t IC_Value1 = 0, IC_Value2 = 0, diffTime, varFreq, bitTm[251];
	static uint32_t tmCnt, lTime, hTime, timeOut;
	uint8_t freqMode, freqSynCnt, p;
	static _Bool capEdge = 1;
	_Bool logicBit, freqDone;
	BaseType_t xHigherPriorityTaskWoken = pdFALSE;
	//TIM_GetITStatus(&htim);
	if ((htim->Instance==TIM2)&&(htim->Channel == HAL_TIM_ACTIVE_CHANNEL_4))
	  {
		if(freqMode == 1)
		{
			varFreq = HAL_TIM_ReadCapturedValue(htim, TIM_CHANNEL_4);
			__HAL_TIM_SET_COUNTER(htim, 0);
			freqSynCnt=10;
			freqDone = 1;
		}
		else
		{
			if(capEdge==1)
			{
				capEdge=0;
				IC_Value1 = HAL_TIM_ReadCapturedValue(htim, TIM_CHANNEL_4);
				if(IC_Value1 < JHANT)
					return;
				hTime = IC_Value1;
				bitTm[tmCnt]=hTime;
				__HAL_TIM_SET_CAPTUREPOLARITY(htim, TIM_CHANNEL_4, TIM_INPUTCHANNELPOLARITY_RISING);
				__HAL_TIM_SET_COUNTER(htim, 0);
				if(start == 1)
					start = 2;
				if(lTime>hTime)															// logic 0
				{
					diffTime = lTime - hTime;
					if(diffTime>1500)//<<4))//130000)////130000)//
					{
						if(timeOut>0)
							timeOut--;
						dataCountX=0;
						dataCountY=0;
						start=1;
					}
					else
					{
						if((diffTime>(hTime>>1))&&(diffTime<(lTime<<1)))										//serial model
						{
							logicBit = 0;
						}
						else																			//frequency model
						{
							start = 0;
						}
					}
				}
				else																				// logic 1
				{
					diffTime = hTime - lTime;
					if((diffTime>(lTime>>1))&&(diffTime<(hTime<<1)))										//serial model
					{
						logicBit = 1;
					}
					else																			//frequency model
					{
						start = 0;
					}
				}
				if(start==2)
				{
					if(dataCountX<15)
					{
						if(dataCountY<8)
						{
							varCh=dataVar[dataCountX];
							//if(prg ==1)
							{
								if(logicBit)
								{
									varCh|=0x01;
								}
								else
								{
									varCh&=0xfe;
								}
							}
						/*if((dataCountX == 11)&&(dataCountY == 7))
						{
							start=2;
						}*/
							if(dataCountY!=7)
								varCh<<=1;
							dataVar[dataCountX]=varCh;
							dataCountY++;
						}
						if(dataCountY==8)
						{
							dataCountX++;
							dataCountY=0;
						}
					}
					if((dataCountX == 15))//&&(dataCountY==0))
					{
						stopTimeOut = 1;
					}
				}
			}
			else
			{
				capEdge=1;
				IC_Value2 = HAL_TIM_ReadCapturedValue(htim, TIM_CHANNEL_4);
				if(IC_Value2 < JHANT)
					return;
				lTime = IC_Value2;
				stopTimeOut = 2;//lTime>>6;
//				stopTimeOut >>= 1;
				bitTm[tmCnt] = lTime;
				__HAL_TIM_SET_CAPTUREPOLARITY(htim, TIM_CHANNEL_4, TIM_INPUTCHANNELPOLARITY_FALLING);
				varFreq = IC_Value2-IC_Value1;
				__HAL_TIM_SET_COUNTER(htim, 0);
			}
			if(tmCnt<250)
			{
				tmCnt++;
			}
			else
			{
				tmCnt=0;
			}
		}
		}
}

/*
 * 	ADC Interrupt handler
 */
void HAL_ADC_ConvCpltCallback(ADC_HandleTypeDef* hadc)
{
	adcData_t adcValues;
	uint32_t val1 = 0, val2 = 0;
    // Conversion Complete & DMA Transfer Complete As Well
    // So The AD_RES Is Now Updated & Let's Move IT To The PWM CCR1
    // Update The PWM Duty Cycle With Latest ADC Conversion Result
	int inx;
	for(int vc=0; vc<25; vc++)
	{
		inx = vc*2;
		val1 += adcBuf[inx];
		val2  += adcBuf[inx+1];
	}
	val1/=25;
	val2/=25;
	if (xQueueSendFromISR(xQueueAdc, &adcValues, NULL) == pdTRUE) {
		// Data sent successfully
	} else {
		// Queue is full, data not sent
	}
}

/* USER CODE BEGIN Header_StartAdcTask */
/**
  * @brief  Function implementing the ADC thread.
  * @param  argument: array of ADC channels
  * @retval None
  */
/* USER CODE END Header_StartDefaultTask */
void StartAdcTask(void *argument)
{
	adcData_t adcData;
	uint32_t vbatCount, adcSpeed;
  /* Infinite loop */
  for(;;)
  {
	  if (xQueueReceive(xQueueAdc, &adcData, portMAX_DELAY) == pdTRUE) {
		  vbatCount = adcData.adcVal[0];
		  adcSpeed = adcData.adcVal[1];
	  }
  }
}
/* USER CODE END 4 */

void StartDefaultTask(void *argument)
{
  /* USER CODE BEGIN 5 */
	uint8_t f1;
	uint16_t adr;
	_Bool autoBaud = 0;
    if(!HAL_GPIO_ReadPin(CAN_MINUS_GPIO_Port, CAN_MINUS_Pin))
	{
	  tBaud = 2;
	  if(!HAL_GPIO_ReadPin(CAN_PLUS_GPIO_Port, CAN_PLUS_Pin))
	  {
		tBaud = 3;
	  }
	}
    else if(!HAL_GPIO_ReadPin(CAN_PLUS_GPIO_Port, CAN_PLUS_Pin))
    {
    	tBaud = 3;
    }
    else
    {
    	eepromRead(ADDR_BAUD, &tBaud, 1);
    	if(tBaud == 0)
	    {
		  autoBaud = 1;
	    }
    	else if(tBaud>4)
    	{
		  tBaud = dBaud;
    	}
    	osDelay(10);
    }
	eepromRead(ADDR_RMUL, (uint8_t *)&rMul, 1);
	  //at24_HAL_ReadBytes(&hi2c1, 0xA0, ADDR_RMUL, (uint8_t *)&rMul, 1);
	  if(rMul==0xff)
	  {
	 	  rMul = 100;
	  }
	  osDelay(10);
	eepromRead(ADDR_RMUL1, (uint8_t *)&rMul1, 1);
	  //at24_HAL_ReadBytes(&hi2c1, 0xA0, ADDR_RMUL1, (uint8_t *)&rMul1, 1);
	  if(rMul1==0xff)
	  {
	 	  rMul1 = 100;
	  }
	  osDelay(10);
	eepromRead(ADDR_RMUL2, (uint8_t *)&rMul2, 1);
	 // at24_HAL_ReadBytes(&hi2c1, 0xA0, ADDR_RMUL2, (uint8_t *)&rMul2, 1);
	  if(rMul2==0xff)
	  {
	 	  rMul2 = 100;
	  }
	  osDelay(10);
	eepromRead(ADDR_RMUL3, (uint8_t *)&rMul3, 1);
	  //at24_HAL_ReadBytes(&hi2c1, 0xA0, ADDR_RMUL3, (uint8_t *)&rMul3, 1);
	  if(rMul3==0xff)
	  {
	 	  rMul3 = 100;
	  }
	  osDelay(10);
	eepromRead(260, tBuf, 15);
	//  at24_HAL_ReadBytes(&hi2c1, 0xA0, 260, tBuf, 15);
	  divFact = tBuf[ADRINX_DIV];
	  //at24_HAL_ReadBytes(&hi2c1, 0xA0, ADDR_DIV, &divFact, 1);
	  if(divFact==0xff)
	  {
		  divFact = 89;
	  }
	  else if(divFact<50)
		  divFact = 50;

	  else if (divFact>200)
	  {
		  divFact = 200;
	  }
	  osDelay(10);
	  tog = tBuf[ADRINX_TOG];
	  //at24_HAL_ReadBytes(&hi2c1, 0xA0, ADDR_TOG, &tog, 1);
	  //tog=c[0];
	  bitOdo=0;
		//at24_HAL_ReadBytes(&hi2c1, 0xA0, ADDR_TOG, &tog, 1);
	  if(tog > 1UL)
	  {
		  tog=0;
		  eepromWrite(ADDR_TOG, (uint8_t *)&tog, 1);
		 // HAL_I2C_Mem_Write(&hi2c1,(uint16_t)0xA0,(uint16_t)ADDR_TOG, I2C_MEMADD_SIZE_8BIT, &tog,(uint16_t)1,1000);
		  //c[0]=0;
	  }
	eeCounter = tBuf[ADRINX_PTR];
	if(eeCounter>31)   //15
	{
		eeCounter=0;
		eepromWrite(ADDR_TOG, (uint8_t *)&eeCounter, 1);
		//HAL_I2C_Mem_Write(&hi2c1,(uint16_t)0xA0,(uint16_t)ADDR_PTR, I2C_MEMADD_SIZE_8BIT, (uint8_t *)&eeCounter,(uint16_t)1,1000);
		//at24_HAL_WriteBytes(&hi2c1, 0xA0, ADDR_PTR, &eeCounter, 1);
		//i2c_write_byte(ADDR_PTR, eeCounter);
	}
	osDelay(10);
	vs = tBuf[ADRINX_VS];//i2c_read_byte(ADDR_VS);
	if(vs==0xff)
		vs=15;
	lval = tBuf[ADRINX_LVAL];//i2c_read_byte(ADDR_LVAL);
	lval<<=8;
	lval+=tBuf[ADRINX_LVAL+1];//i2c_read_byte(ADDR_LVAL+1);
	if(lval==0xffff)
		lval = 450;
	gv1 = tBuf[ADRINX_G1];//i2c_read_byte(ADDR_G1);
	if(gv1==0xff)
		gv1=50;
	else if(gv1>100)
		gv1=100;
	gv2 = tBuf[ADRINX_G2];//i2c_read_byte(ADDR_G2);
	if(gv2==0xff)
		gv2=50;
	else if(gv2>100)
		gv2=100;
	gv3 = tBuf[ADRINX_G3];//i2c_read_byte(ADDR_G3);
	if(gv3==0xff)
		gv3=50;
	else if(gv3>100)
		gv3=100;
	gv4 = tBuf[ADRINX_G4];//i2c_read_byte(ADDR_G4);
	if(gv4==0xff)
		gv4=45;
	else if(gv4>100)
		gv4=100;
	gav1 = tBuf[ADRINX_GA1];//i2c_read_byte(ADDR_GA1);
	if(gav1==0xff)
		gav1=45;
	else if(gav1>150)
		gav1=150;
	gav2 = tBuf[ADRINX_GA2];//i2c_read_byte(ADDR_GA2);
	if(gav2==0xff)
		gav2=100;
	gav3 = tBuf[ADRINX_GA3];//i2c_read_byte(ADDR_GA3);
	if(gav3==0xff)
		gav3=100;
	gav4 = tBuf[ADRINX_GA4];//i2c_read_byte(ADDR_GA4);
	if(gav4==0xff)
		gav4=100;

	eepromRead(ADDR_DIVDIS, (uint8_t *)&divDis, 1);
	//at24_HAL_ReadBytes(&hi2c1, 0xA0, ADDR_DIVDIS, (uint8_t *)&divDis, 1);
	if(divDis==0xff)
		divDis=176;
	else if(divDis<120)
		divDis=120;
	eepromRead(ADDR_VERS, (uint8_t *)&vers, 1);
	//at24_HAL_ReadBytes(&hi2c1, 0xA0, ADDR_VERS, (uint8_t *)&vers, 1);
	if(vers==0xff)
		vers=VERS;
	osDelay(1);

	eepromRead(ADDR_FREQ, tBuf, 1);
	//at24_HAL_ReadBytes(&hi2c1, 0xA0, ADDR_FREQ, tBuf, 1);
	if(tBuf[0]==1)
		modeSet(1);
	else
		modeSet(0);
	osDelay(1);
	eepromRead(ADDR_DivFrq, (uint8_t *)&divFactFrq, 1);
	//at24_HAL_ReadBytes(&hi2c1, 0xA0, ADDR_DivFrq, (uint8_t *)&divFactFrq, 1);
	if(divFactFrq==0xff)
	{
		divFactFrq = 45;
	}
	osDelay(1);
	adr=eeCounter*4;
	eepromRead(adr, tBuf, 4);
	//at24_HAL_ReadBytes(&hi2c1, 0xA0, adr, (uint8_t *)&tBuf, 4);
	//read_eeprom(adr, tBuf, 4);
	odoVar=tBuf[0];
	odoVar<<=8;
	odoVar+=tBuf[1];
	odoVar<<=8;
	odoVar+=tBuf[2];
	odoVar<<=8;
	odoVar+=tBuf[3];
	if(odoVar>9999999)
	{
		odoVar=0;
		MEM_Write(adr, odoVar);
	}
	osDelay(10);
	prvOdo = odoVar;
	//odoVar=(unsigned long)((tBuf[0]<<24)|(tBuf[1]<<16)|(tBuf[2]<<8)|(tBuf[3]));
	adr+=ADDR_TRIP_OFF;
	eepromRead(adr, tBuf, 4);
	//at24_HAL_ReadBytes(&hi2c1, 0xA0, adr, (uint8_t *)&tBuf, 4);
	//read_eeprom(adr, tBuf, 4);
	tripVar=tBuf[0];
	tripVar<<=8;
	tripVar+=tBuf[1];
	tripVar<<=8;
	tripVar+=tBuf[2];
	tripVar<<=8;
	tripVar+=tBuf[3];
	if(tripVar>999999)
	{
		tripVar=0;
		MEM_Write(adr, tripVar);
	}
	osDelay(10);
	if(tog)
		xEventGroupSetBits(xEventGroupDisplay, TRIP_BIT);
	else
		xEventGroupSetBits(xEventGroupDisplay, ODO_BIT);
		//dispOdo(odoVar/10, tog);
  if(autoBaud)
  {
	  uint8_t itr;
	  for( itr = 1; itr < 5; itr++ )
	  {
		  FDCAN_SetBaud(itr);
		  FDCAN1_Config();
		  osDelay(100);
		  if(osSemaphoreAcquire(xSemCanDetectHandle, 3000) == osOK)
		  {
			  break;
		  }
	  }
	  if(itr >= 5)
	  {
		  tBaud = DBAUD;
	  }
	  else
	  {
		  tBaud = itr;
	  }
  }
  FDCAN_SetBaud(tBaud);
  FDCAN1_Config();
  canTaskHandle = osThreadNew(StartCanTask, NULL, &canTask_attributes);
  /* Infinite loop */
  for(;;)
  {
	 // HAL_UART_Transmit(&huart1, (uint8_t *)"Hello", 5, 300);
	if(runTime == 0)
	{
		if((speedVarF>2))//||(spd>2)||(speedVarF>2)||(speedVar2>2))
		{
			if(tripVar<999999)
				tripVar++;
			else
				tripVar=0;
			if(odoVar<9999999)
			{
				odoVar++;
			}
			else
			{
				odoVar=0;
			}
			f1=odoVar/31250;	//35000;
			if(f1>=32)
			{
				unsigned int vptr=f1/32;
				f1=(f1-(vptr*32));
			}
			if(f1!=eeCounter)
			{
				eeCounter=f1;
				//i2c_write_byte(ADDR_PTR, eeC	ounter);
				eepromWrite((uint16_t)ADDR_PTR, (uint8_t *)&eeCounter, (uint16_t)1);
				//HAL_I2C_Mem_Write(&hi2c1,(uint16_t)0xA0,(uint16_t)ADDR_PTR, I2C_MEMADD_SIZE_8BIT, (uint8_t *)&eeCounter,(uint16_t)1,1000);
				//at24_HAL_WriteBytes(&hi2c1, 0xA0, ADDR_PTR, &eeCounter, 1);
			}
			eeCounter = 0;
				//dispVolt(eeCounter);
			adr=eeCounter*4;
			osDelay(5);
			MEM_Write(adr, odoVar);
			osDelay(5);
			adr+=ADDR_TRIP_OFF;
			MEM_Write(adr, tripVar);
			osDelay(5);
			//rangeInit++;
			prvOdo = odoVar;
			if(tog)
			{
				xEventGroupSetBits(xEventGroupDisplay, TRIP_BIT);
			}
			else
			{
				xEventGroupSetBits(xEventGroupDisplay, ODO_BIT);
			}
		}
		runTime=1;
	}
    osDelay(1000);
  }
  /* USER CODE END 5 */
}

void StartGpioTask(void *argument)
{
  /* USER CODE BEGIN StartGpioTask */
  /* Infinite loop */
  for(;;)
  {
    if(ulTaskNotifyTake(pdTRUE, 500))
    {											//short press
    	if(keyNo == SHORT)											//short press
    	{
    		keyNo=0;
    		if(tog)
    		{
    			tog = 0;
    			xEventGroupSetBits(xEventGroupDisplay, ODO_BIT);
    		}
    		else
    		{
    			tog = 1;
    			xEventGroupSetBits(xEventGroupDisplay, TRIP_BIT);
    		}
    		/*do{
    			//TM1629_ReadKey(5,key_buf);
    		osDelay(10);
    		}
    		while(!HAL_GPIO_ReadPin(KEY_ODO_GPIO_Port, KEY_ODO_Pin));*/
    		eepromWrite(ADDR_TOG, (uint8_t *)&tog, 1);
    		//HAL_I2C_Mem_Write(&hi2c1,(uint16_t)0xA0,(uint16_t)ADDR_TOG, I2C_MEMADD_SIZE_8BIT, &tog,(uint16_t)1,1000);
    		osDelay(10);
    		//odoSwVal=1;
    		//canSync=30;
    		//itr=5;
    	}
    	//else if(chr==2)									//Long Press
    	else if(keyNo == LONG)									//Long Press
    	{
    		keyNo=0;
    		tripVar=0;
    		tog=1;
    		xEventGroupSetBits(xEventGroupDisplay, TRIP_BIT);
    		//while(!HAL_GPIO_ReadPin(KEY_ODO_GPIO_Port, KEY_ODO_Pin));
    		uint16_t adr = eeCounter*4;
    		adr+=ADDR_TRIP_OFF;
    		MEM_Write(adr,tripVar);
    		//odoSwVal=2;
    		//canSync=30;
    		//itr=5;
    		/*do
    		{
    			//TM1629_ReadKey(5,key_buf);
    			osDelay(1000);
    		}while(kbhit());*/
    	}
    }
    osDelay(1);
  }
  /* USER CODE END StartGpioTask */
}

void HAL_TIM_PeriodElapsedCallback(TIM_HandleTypeDef *htim)
{
  if (htim->Instance == TIM1) {
    HAL_IncTick();
  }
}

void Error_Handler(void)
{
  __disable_irq();
  while (1)
  {
  }
}
